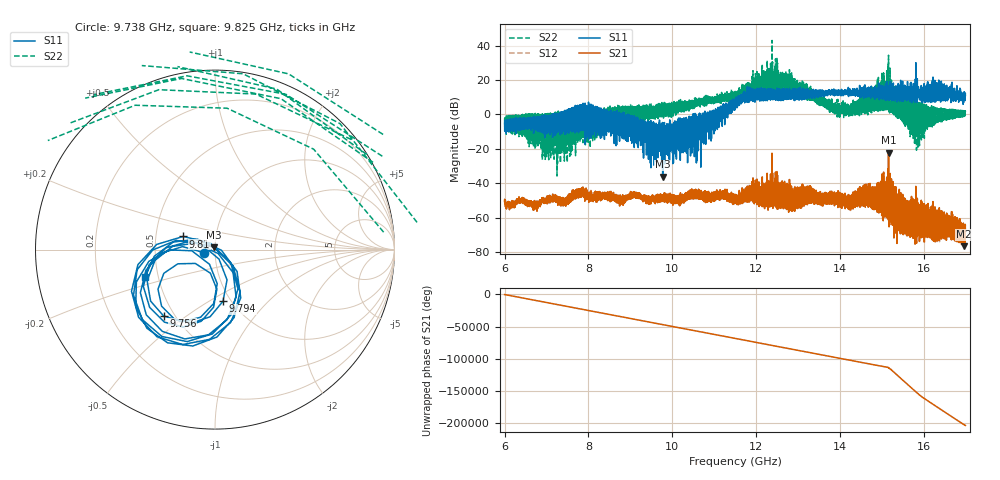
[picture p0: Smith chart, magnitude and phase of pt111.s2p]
#  HZ  S  RI  R  50.00
! Rohde & Schwarz Vector Network Analyzer
! Rohde-Schwarz,ZNA67-2Port,1332450062101215,3.01
! Created: UTC 10/19/2026, 2:52:49 PM
! freq[Hz]  re:S11  im:S11  re:S21  im:S21  re:S12  im:S12  re:S22  im:S22
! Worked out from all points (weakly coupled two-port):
!   11001 points, 6 GHz to 17 GHz, reference 50 ohm
!   highest |S21| = -22.30 dB at 15.16 GHz (marker M1); lowest = -76.7 dB at 16.97 GHz (marker M2)
!   lowest |S11| = -36.2 dB at 9.774 GHz (marker M3), VSWR 1.03, Z = 49.3 + j1.35 ohm
!   |S11| at or under -10 dB: 9.641744 GHz to 9.647094 GHz (5.35 MHz wide, 0.0555 % of centre); 9.675688 GHz to 9.681065 GHz (5.377 MHz wide, 0.0556 % of centre); 9.734815 GHz to 9.740179 GHz (5.365 MHz wide, 0.0551 % of centre) (the widest 3 of 253)
!   |S22| runs from -35.8 to 43.1 dB; largest |S21 - S12| = 0.005
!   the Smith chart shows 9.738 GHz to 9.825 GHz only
!   S11 on the Smith chart (normalised r, x): 9.738 GHz: 0.88, -0.03; 9.756 GHz: 0.44, -0.41; 9.794 GHz: 0.92, -0.58; 9.81 GHz: 0.69, +0.11; 9.825 GHz: 0.42, -0.16
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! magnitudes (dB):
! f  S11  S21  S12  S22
! 6 GHz  -5.1  -50.7  -50.7  -2.4
! 7.417 GHz  -0.6  -49.6  -49.6  -3.2
! 7.834 GHz  -8.7  -47.2  -47.1  -11.9
! 8.75 GHz  0.4  -49.3  -49.1  3.9
! 9.667 GHz  -14.5  -50.3  -50.5  -1.4
! 9.738 GHz  -23.9  -49.2  -49.3  1.4
! 9.756 GHz  -6.6  -48.8  -49.1  4.0
! 9.774 GHz  -36.2  -49.0  -49.3  4.0
! 9.794 GHz  -10.7  -49.9  -50.0  -2.0
! 9.81 GHz  -14.3  -49.4  -49.5  5.2
! 9.825 GHz  -7.6  -46.4  -46.6  4.3
! 10.97 GHz  1.9  -47.9  -48.0  8.3
! 11.5 GHz  4.7  -50.4  -50.5  9.4
! 11.8 GHz  7.2  -48.5  -48.5  13.2
! 12.49 GHz  11.4  -53.5  -53.4  10.9
! 13.33 GHz  10.7  -48.3  -48.2  9.8
! 14.2 GHz  12.1  -49.8  -50.0  1.4
! 15.16 GHz  13.0  -22.3  -22.5  34.5
! 15.17 GHz  10.2  -56.6  -57.1  3.6
! 15.82 GHz  30.1  -41.9  -41.8  2.9
! 16.97 GHz  10.2  -76.7  -76.0  -1.0
! 17 GHz  11.0  -68.2  -68.3  1.5
